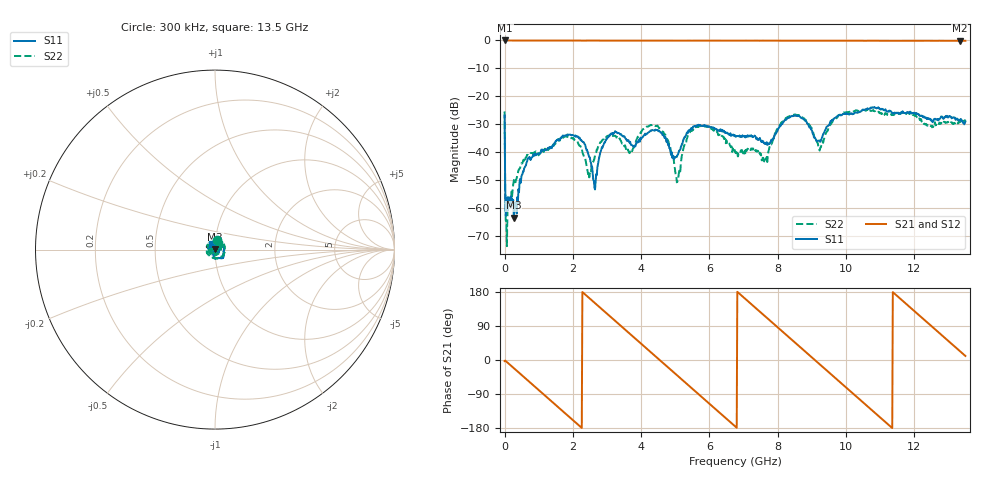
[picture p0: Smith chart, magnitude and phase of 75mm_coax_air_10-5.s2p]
!Agilent Technologies,N5230C,MY48100320,A.08.04.10
!Agilent N5230C: A.08.04.10
!Date: Wednesday, October 05, 2016 21:01:40
!Correction: S11(Full 2 Port(1,2))
!S21(Full 2 Port(1,2))
!S12(Full 2 Port(1,2))
!S22(Full 2 Port(1,2))
!S2P File: Measurements: S11, S21, S12, S22:
# Hz S  dB  R 50
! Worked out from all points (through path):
!   801 points, 300 kHz to 13.5 GHz, reference 50 ohm
!   highest |S21| = 0.01 dB at 17.17 MHz (marker M1); lowest = -0.1 dB at 13.33 GHz (marker M2)
!   group delay of S21, straight-line fit = 220 ps
!   lowest |S11| = -63.5 dB at 270.3 MHz (marker M3), VSWR 1.00, Z = 50 + j0.0668 ohm
!   |S11| at or under -10 dB: start of sweep to end of sweep
!   |S22| runs from -73.7 to -24.7 dB; largest |S21 - S12| = 0.0056
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300000  -26.93 78.8  -0.06 -2.8  -0.07 -2.8  -25.41 77.5
1.717462e7  -52.98 124.9  0.01 -1.5  0.01 -1.5  -52.55 94.6
1.015478e8  -60.81 39.4  -0.01 -8.1  -0.01 -8.1  -57.98 47.1
2.70294e8  -63.51 88.8  -0.01 -21.5  -0.01 -21.5  -50.26 13.3
6.75285e8  -42.25 104.9  -0.01 -53.6  -0.02 -53.6  -41.06 -18.6
1.232148e9  -39.01 3.1  -0.02 -97.7  -0.03 -97.7  -39.66 -10.1
2.2615e9  -36.08 -146.9  -0.04 -179.3  -0.04 -179.2  -38.59 -38.6
2.649616e9  -53.42 -83.2  -0.03 150.0  -0.04 150.0  -40.95 159.7
3.3921e9  -33.71 -103.9  -0.04 91.2  -0.05 91.2  -35.70 109.2
4.505825e9  -32.54 23.1  -0.05 2.9  -0.06 3.0  -31.01 171.8
5.079562e9  -40.92 -155.7  -0.05 -42.5  -0.05 -42.4  -49.53 -125.5
5.636425e9  -30.39 90.8  -0.07 -86.6  -0.05 -86.5  -30.96 -75.7
6.75015e9  -33.95 -120.5  -0.04 -174.8  -0.06 -174.7  -39.88 -47.9
7.644505e9  -36.76 139.5  -0.06 114.4  -0.05 114.5  -42.38 -104.9
7.897624e9  -34.14 169.9  -0.06 94.4  -0.06 94.4  -34.23 178.8
9.01135e9  -32.50 159.3  -0.06 6.1  -0.06 6.1  -31.84 39.9
9.264469e9  -35.82 -135.9  -0.06 -14.0  -0.07 -14.0  -38.36 -67.3
1.015882e10  -26.10 -80.9  -0.09 -84.8  -0.08 -84.7  -25.32 89.9
1.125567e10  -25.56 -26.5  -0.09 -171.6  -0.09 -171.5  -26.78 -136.8
1.235253e10  -27.74 48.2  -0.08 101.5  -0.10 101.6  -29.89 -19.7
1.333125e10  -28.41 117.1  -0.12 24.0  -0.10 24.1  -29.22 96.0
1.35e10  -29.08 123.1  -0.10 10.7  -0.12 10.8  -28.36 58.3
